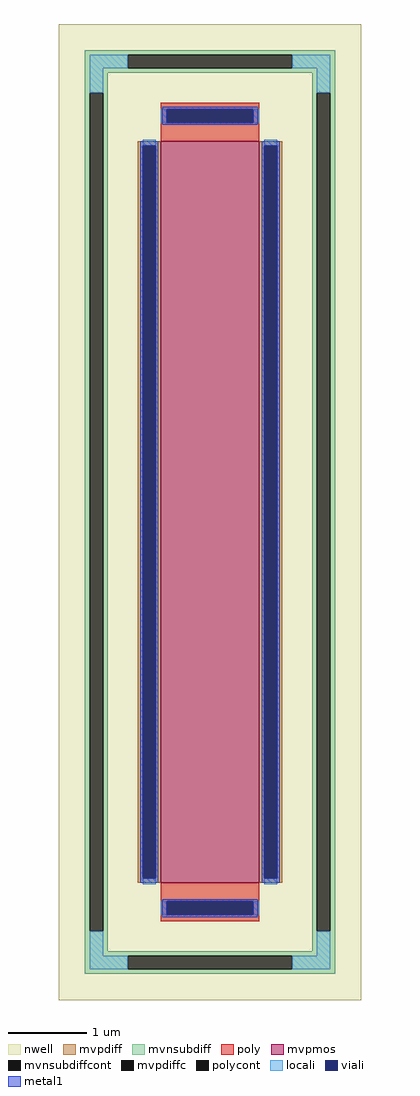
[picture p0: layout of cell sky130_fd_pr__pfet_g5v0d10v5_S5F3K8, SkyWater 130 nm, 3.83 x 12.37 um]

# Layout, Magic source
magic
tech sky130A
magscale 1 2
<< nwell >>
rect -383 -1237 383 1237
<< mvpmos >>
rect -125 -940 125 940
<< mvpdiff >>
rect -183 928 -125 940
rect -183 -928 -171 928
rect -137 -928 -125 928
rect -183 -940 -125 -928
rect 125 928 183 940
rect 125 -928 137 928
rect 171 -928 183 928
rect 125 -940 183 -928
<< mvpdiffc >>
rect -171 -928 -137 928
rect 137 -928 171 928
<< mvnsubdiff >>
rect -317 1159 317 1171
rect -317 1125 -209 1159
rect 209 1125 317 1159
rect -317 1113 317 1125
rect -317 1063 -259 1113
rect -317 -1063 -305 1063
rect -271 -1063 -259 1063
rect 259 1063 317 1113
rect -317 -1113 -259 -1063
rect 259 -1063 271 1063
rect 305 -1063 317 1063
rect 259 -1113 317 -1063
rect -317 -1125 317 -1113
rect -317 -1159 -209 -1125
rect 209 -1159 317 -1125
rect -317 -1171 317 -1159
<< mvnsubdiffcont >>
rect -209 1125 209 1159
rect -305 -1063 -271 1063
rect 271 -1063 305 1063
rect -209 -1159 209 -1125
<< poly >>
rect -125 1021 125 1037
rect -125 987 -109 1021
rect 109 987 125 1021
rect -125 940 125 987
rect -125 -987 125 -940
rect -125 -1021 -109 -987
rect 109 -1021 125 -987
rect -125 -1037 125 -1021
<< polycont >>
rect -109 987 109 1021
rect -109 -1021 109 -987
<< locali >>
rect -305 1125 -209 1159
rect 209 1125 305 1159
rect -305 1063 -271 1125
rect 271 1063 305 1125
rect -125 987 -109 1021
rect 109 987 125 1021
rect -171 928 -137 944
rect -171 -944 -137 -928
rect 137 928 171 944
rect 137 -944 171 -928
rect -125 -1021 -109 -987
rect 109 -1021 125 -987
rect -305 -1125 -271 -1063
rect 271 -1125 305 -1063
rect -305 -1159 -209 -1125
rect 209 -1159 305 -1125
<< viali >>
rect -109 987 109 1021
rect -171 -928 -137 928
rect 137 -928 171 928
rect -109 -1021 109 -987
<< metal1 >>
rect -121 1021 121 1027
rect -121 987 -109 1021
rect 109 987 121 1021
rect -121 981 121 987
rect -177 928 -131 940
rect -177 -928 -171 928
rect -137 -928 -131 928
rect -177 -940 -131 -928
rect 131 928 177 940
rect 131 -928 137 928
rect 171 -928 177 928
rect 131 -940 177 -928
rect -121 -987 121 -981
rect -121 -1021 -109 -987
rect 109 -1021 121 -987
rect -121 -1027 121 -1021
<< properties >>
string FIXED_BBOX -288 -1142 288 1142
string gencell sky130_fd_pr__pfet_g5v0d10v5
string library sky130
string parameters w 9.4 l 1.25 m 1 nf 1 diffcov 100 polycov 100 guard 1 glc 1 grc 1 gtc 1 gbc 1 tbcov 100 rlcov 100 topc 1 botc 1 poverlap 0 doverlap 1 lmin 0.50 wmin 0.42 class mosfet compatible {sky130_fd_pr__pfet_01v8  sky130_fd_pr__pfet_01v8_lvt sky130_fd_pr__pfet_01v8_hvt  sky130_fd_pr__pfet_g5v0d10v5} full_metal 1 viasrc 100 viadrn 100 viagate 100 viagb 0 viagr 0 viagl 0 viagt 0
<< end >>
